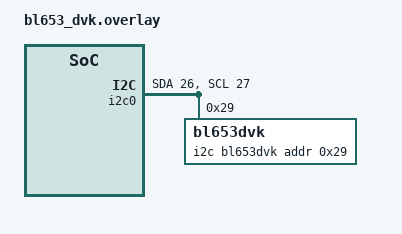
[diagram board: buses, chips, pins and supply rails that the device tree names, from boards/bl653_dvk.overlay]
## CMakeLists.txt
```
cmake_minimum_required(VERSION 3.20.0)

find_package(Zephyr REQUIRED HINTS $ENV{ZEPHYR_BASE})
project(hello_world)

target_sources(app PRIVATE src/main.c)
target_include_directories(app PRIVATE include)
```

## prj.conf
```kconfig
# nothing here
#C++ support configs
CONFIG_CPLUSPLUS=y
CONFIG_NEWLIB_LIBC=y
CONFIG_LIB_CPLUSPLUS=y
CONFIG_HEAP_MEM_POOL_SIZE=16348

CONFIG_STDOUT_CONSOLE=y
CONFIG_LOG=y

#GPIO
CONFIG_I2C=y
CONFIG_OPENOCD_SUPPORT=n
CONFIG_NRFX_TWIS1=y
```

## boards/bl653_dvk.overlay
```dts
&i2c0 {
	compatible = "nordic,nrf-twi";
	status = "okay";
	sda-pin = <26>;
	scl-pin = <27>;
	twis_device1:bl653dvk@29 {	
	status = "okay";    			
	label = "i2c bl653dvk addr 0x29";	
	reg = <0x29>;						
	};
};	



	
```

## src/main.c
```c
#include <zephyr.h>
#include <device.h>
#include <devicetree.h>
#include <nrfx_twis.h>
#include "main.h"

#define SLAVE_ADDR (0x28)
#define TWI_PIN_SDA 26
#define TWI_PIN_SCL 27
#define TWI_INT_PRIORITY 2
#define TWIS_INST 1
static uint16_t buffer_index;
static unsigned char twis_rx_buffer[14];
static unsigned char twis_tx_buffer[] = "This is a circular slave transmit buffer.";

const nrfx_twis_t m_twis = NRFX_TWIS_INSTANCE(TWIS_INST);
nrfx_twis_config_t i2c_config_s;
void initializing_TWIS(void);

static void twis_event_handler(nrfx_twis_evt_t const *const p_event)
{
	switch(p_event->type)
	{
		case NRFX_TWIS_EVT_READ_REQ:
		    if(p_event->data.buf_req)
			{
				(void) nrfx_twis_tx_prepare(&m_twis,twis_tx_buffer + buffer_index, 14);

              if((buffer_index += 14) >= sizeof(twis_tx_buffer)){
              buffer_index = 0;
				// nrfx_twis_tx_prepare(&m_twis,twis_tx_buffer,14);
			}
			}
			
			break;
		case NRFX_TWIS_EVT_READ_DONE:
			printk("\n nrf Read event done\n");
			break;
		case NRFX_TWIS_EVT_WRITE_REQ:
		    if(p_event->data.buf_req)
			{
				nrfx_twis_rx_prepare(&m_twis,twis_rx_buffer,14);
			}
			break;
		case NRFX_TWIS_EVT_WRITE_DONE:
		    printk("\nWrite Done\n");
			break;
		case NRFX_TWIS_EVT_READ_ERROR:
		    printk("\nTWIS READ ERROR\n");
			break;
		case NRFX_TWIS_EVT_WRITE_ERROR:
		    printk("\nTWIS WRITE ERROR\n");
			break;
		case NRFX_TWIS_EVT_GENERAL_ERROR:
		    printk("\nTWIS GENERAL ERROR\n");
			break;
		default:
		    printk("TWIS default\n");
			break;

	}
}


void initializing_TWIS()
{
	IRQ_CONNECT(DT_IRQN(DT_NODELABEL(i2c1)),
       DT_IRQ(DT_NODELABEL(i2c1), priority),
       nrfx_isr, nrfx_twis_1_irq_handler, 0);

	i2c_config_s.addr[0] = SLAVE_ADDR;
	i2c_config_s.addr[1] = 0;
	i2c_config_s.sda = TWI_PIN_SDA;
	i2c_config_s.scl = TWI_PIN_SCL;
	i2c_config_s.sda_pull = NRF_GPIO_PIN_PULLUP;
	i2c_config_s.scl_pull = NRF_GPIO_PIN_PULLUP;
	i2c_config_s.interrupt_priority = TWI_INT_PRIORITY;

	
	if(nrfx_twis_init(&m_twis, &i2c_config_s,twis_event_handler ) == NRFX_SUCCESS )
	{
		printk("\nnrf Twis initialized\n");
	}
	else
	{
		printk("\nnrf Twis not initialized\n");
	}
}


void main(void)
{
	printk("\n I2C Slave Demo Start....\n");
	initializing_TWIS();
	nrfx_twis_enable(&m_twis);
	
	
}
```

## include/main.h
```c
// #include <stdio.h>
// #include <string.h>
// enum
// {
// 	NORMAL_POLARITY = PWM_POLARITY_NORMAL,
// 	INVERTED_POLARITY = PWM_POLARITY_INVERTED
// };

// /*
// * @brief 
//   Set the device binding for pwm0
// */
// void enable_pwm(void);

// /*
// * @brief Set all the configuration for PWM 
//   @param d_polarity set the polarity (PWM_POLARITY_NORMAL or PWM_POLARITY_INVERTED) as per requirment
//   @param d_frequency set the frequency in KHz
//   @param d_duty_cycle set the duty cycle from 0% to 100%
// */
// void configuration_set(uint8_t d_polarity, uint32_t d_frequency, uint16_t d_duty_cycle);

// /*
//  * @brief Set the period and pulse width for a single PWM output.
//  * it will generate the PWM pulse 
//  */
// void generate_pwm(void);
```
